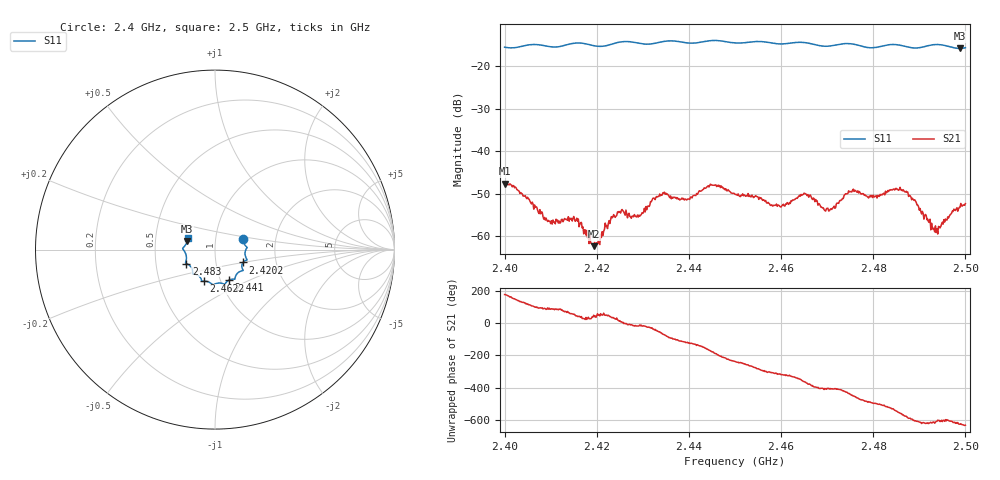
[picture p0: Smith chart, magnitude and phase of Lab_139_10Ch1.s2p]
# Hz S RI R 50
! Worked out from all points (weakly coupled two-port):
!   601 points, 2.4 GHz to 2.5 GHz, reference 50 ohm
!   highest |S21| = -47.69 dB at 2.4 GHz (marker M1); lowest = -62.4 dB at 2.4193 GHz (marker M2)
!   lowest |S11| = -15.8 dB at 2.4988 GHz (marker M3), VSWR 1.39, Z = 36.4 + j3.5 ohm
!   |S11| at or under -10 dB: start of sweep to end of sweep
!   S12 and S22 are empty: the file has one direction only
!   S11 on the Smith chart (normalised r, x): 2.4 GHz: 1.36, +0.17; 2.4202 GHz: 1.35, -0.20; 2.441 GHz: 1.09, -0.39; 2.4622 GHz: 0.83, -0.30; 2.483 GHz: 0.72, -0.12; 2.5 GHz: 0.73, +0.09
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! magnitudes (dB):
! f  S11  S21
! 2.4 GHz  -15.5  -47.7
! 2.4098 GHz  -15.4  -56.6
! 2.4147 GHz  -14.7  -56.5
! 2.4167 GHz  -14.6  -56.8
! 2.4193 GHz  -15.2  -62.4
! 2.4202 GHz  -15.3  -61.9
! 2.425 GHz  -14.3  -54.3
! 2.4292 GHz  -14.6  -55.1
! 2.4333 GHz  -14.4  -50.7
! 2.441 GHz  -14.6  -50.5
! 2.4452 GHz  -13.9  -48.0
! 2.45 GHz  -14.5  -50.2
! 2.4622 GHz  -14.5  -51.7
! 2.4667 GHz  -14.7  -51.1
! 2.47 GHz  -15.3  -53.4
! 2.4752 GHz  -14.7  -49.5
! 2.483 GHz  -15.0  -49.7
! 2.4833 GHz  -15.0  -49.5
! 2.487 GHz  -15.3  -49.6
! 2.4935 GHz  -14.9  -57.6
! 2.4988 GHz  -15.8  -53.3
! 2.5 GHz  -15.6  -52.4
